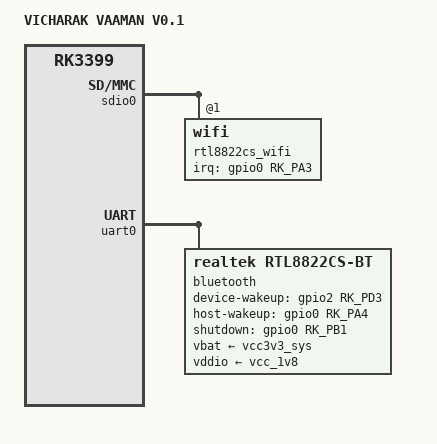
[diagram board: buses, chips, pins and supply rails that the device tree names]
// SPDX-License-Identifier: (GPL-2.0+ OR MIT)
/*
 * Copyright (c) 2022 VICHARAK IN
 */

/dts-v1/;
#include "rk3399-vaaman-01.dtsi"

/ {
	model = "VICHARAK VAAMAN V0.1";
	compatible = "vicharak,vaaman", "vicharak,vaaman-01", "rockchip,rk3399";

	aliases {
		mmc2 = &sdio0;
	};
};

&sdio0 {
	status = "okay";

	rtl8822cs_wifi: wifi@1 {
		reg		= <1>;
		interrupt-parent = <&gpio0>;
		interrupts	= <RK_PA3 IRQ_TYPE_LEVEL_HIGH>;
		interrupt-names	= "host-wake";
		pinctrl-names	= "default";
		pinctrl-0	= <&wifi_host_wake_l>;
	};
};

&uart0 {
	status = "okay";

	bluetooth {
		compatible	= "realtek,rtl8822cs-bt";
		clocks		= <&rk808 1>;
		clock-names	= "lpo";
		max-speed	= <1500000>;
		pinctrl-names	= "default";
		pinctrl-0	= <&bt_host_wake_l &bt_wake_l &bt_enable_h>;
		vbat-supply	= <&vcc3v3_sys>;
		vddio-supply	= <&vcc_1v8>;
		
		/* Because chip supports RTSCTS */
	        uart-has-rtscts;

		/* Bluetooth chipset GPIOs */
		device-wakeup-gpios	= <&gpio2 RK_PD3 GPIO_ACTIVE_HIGH>;
		host-wakeup-gpios	= <&gpio0 RK_PA4 GPIO_ACTIVE_HIGH>;
		shutdown-gpios		= <&gpio0 RK_PB1 GPIO_ACTIVE_HIGH>;
	};

};
